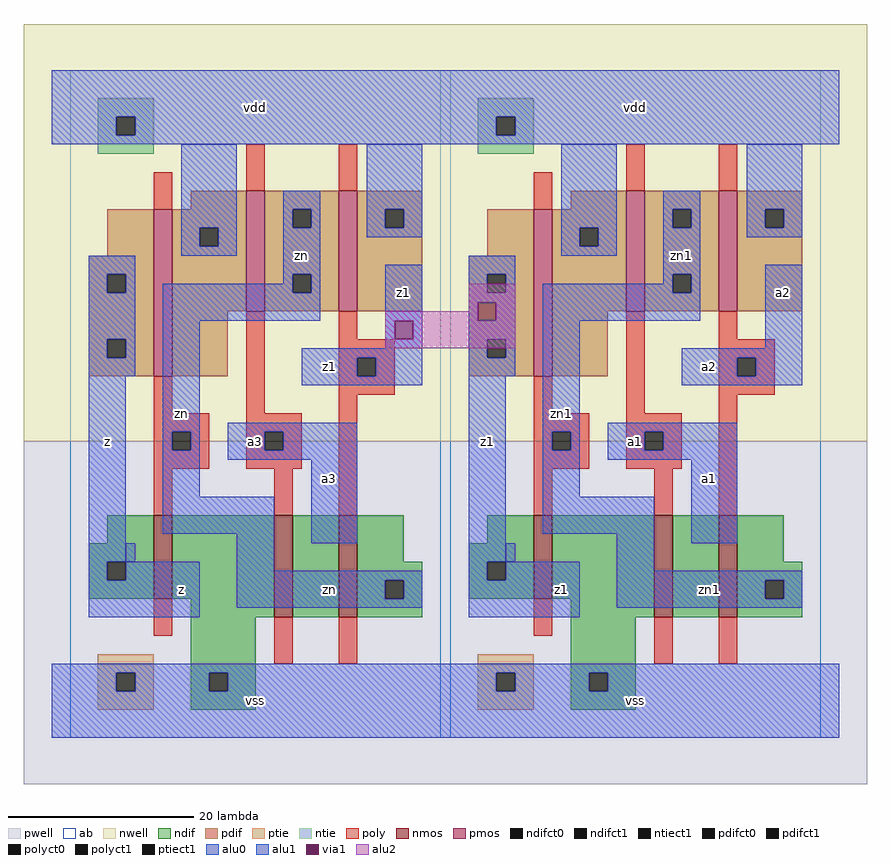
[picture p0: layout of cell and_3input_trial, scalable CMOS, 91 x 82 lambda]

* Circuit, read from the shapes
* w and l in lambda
.subckt and_3input_trial a1 a2 a3 vdd vss z z1 zn zn1
M1 vss zn z vss nfet w=9 l=2
M2 n1 a3 vss vss nfet w=11 l=2
M3 zn z1 n1 vss nfet w=11 l=2
M4 vss zn1 z1 vss nfet w=9 l=2
M5 n2 a1 vss vss nfet w=11 l=2
M6 zn1 a2 n2 vss nfet w=11 l=2
M7 vdd zn z vdd pfet w=18 l=2
M8 zn a3 vdd vdd pfet w=13 l=2
M9 vdd z1 zn vdd pfet w=13 l=2
M10 vdd zn1 z1 vdd pfet w=18 l=2
M11 zn1 a1 vdd vdd pfet w=13 l=2
M12 vdd a2 zn1 vdd pfet w=13 l=2
.ends

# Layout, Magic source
magic
tech scmos
<< ab >>
rect -40 5 0 77
rect 1 5 41 77
<< nwell >>
rect -45 37 46 82
<< pwell >>
rect -45 0 46 37
<< poly >>
rect -31 62 -29 66
rect -21 64 -19 69
rect -11 64 -9 69
rect 10 62 12 66
rect 20 64 22 69
rect 30 64 32 69
rect -31 40 -29 44
rect -21 40 -19 51
rect -11 48 -9 51
rect -11 46 -5 48
rect -11 44 -9 46
rect -7 44 -5 46
rect -11 42 -5 44
rect -31 38 -25 40
rect -31 36 -29 38
rect -27 36 -25 38
rect -31 34 -25 36
rect -21 38 -15 40
rect -21 36 -19 38
rect -17 36 -15 38
rect -21 34 -15 36
rect -31 29 -29 34
rect -18 29 -16 34
rect -11 29 -9 42
rect 10 40 12 44
rect 20 40 22 51
rect 30 48 32 51
rect 30 46 36 48
rect 30 44 32 46
rect 34 44 36 46
rect 30 42 36 44
rect 10 38 16 40
rect 10 36 12 38
rect 14 36 16 38
rect 10 34 16 36
rect 20 38 26 40
rect 20 36 22 38
rect 24 36 26 38
rect 20 34 26 36
rect 10 29 12 34
rect 23 29 25 34
rect 30 29 32 42
rect -31 16 -29 20
rect -18 13 -16 18
rect -11 13 -9 18
rect 10 16 12 20
rect 23 13 25 18
rect 30 13 32 18
<< ndif >>
rect -36 26 -31 29
rect -38 24 -31 26
rect -38 22 -36 24
rect -34 22 -31 24
rect -38 20 -31 22
rect -29 20 -18 29
rect -27 18 -18 20
rect -16 18 -11 29
rect -9 24 -4 29
rect 5 26 10 29
rect 3 24 10 26
rect -9 22 -2 24
rect -9 20 -6 22
rect -4 20 -2 22
rect 3 22 5 24
rect 7 22 10 24
rect 3 20 10 22
rect 12 20 23 29
rect -9 18 -2 20
rect -27 12 -20 18
rect 14 18 23 20
rect 25 18 30 29
rect 32 24 37 29
rect 32 22 39 24
rect 32 20 35 22
rect 37 20 39 22
rect 32 18 39 20
rect -27 10 -25 12
rect -23 10 -20 12
rect -27 8 -20 10
rect 14 12 21 18
rect 14 10 16 12
rect 18 10 21 12
rect 14 8 21 10
<< pdif >>
rect -27 62 -21 64
rect -36 57 -31 62
rect -38 55 -31 57
rect -38 53 -36 55
rect -34 53 -31 55
rect -38 48 -31 53
rect -38 46 -36 48
rect -34 46 -31 48
rect -38 44 -31 46
rect -29 60 -21 62
rect -29 58 -26 60
rect -24 58 -21 60
rect -29 51 -21 58
rect -19 62 -11 64
rect -19 60 -16 62
rect -14 60 -11 62
rect -19 55 -11 60
rect -19 53 -16 55
rect -14 53 -11 55
rect -19 51 -11 53
rect -9 62 -2 64
rect 14 62 20 64
rect -9 60 -6 62
rect -4 60 -2 62
rect -9 51 -2 60
rect 5 57 10 62
rect 3 55 10 57
rect 3 53 5 55
rect 7 53 10 55
rect -29 44 -23 51
rect 3 48 10 53
rect 3 46 5 48
rect 7 46 10 48
rect 3 44 10 46
rect 12 60 20 62
rect 12 58 15 60
rect 17 58 20 60
rect 12 51 20 58
rect 22 62 30 64
rect 22 60 25 62
rect 27 60 30 62
rect 22 55 30 60
rect 22 53 25 55
rect 27 53 30 55
rect 22 51 30 53
rect 32 62 39 64
rect 32 60 35 62
rect 37 60 39 62
rect 32 51 39 60
rect 12 44 18 51
<< alu1 >>
rect -42 72 43 77
rect -42 70 -35 72
rect -33 70 6 72
rect 8 70 43 72
rect -42 69 43 70
rect -38 55 -33 57
rect -38 53 -36 55
rect -34 53 -33 55
rect -38 48 -33 53
rect -38 46 -36 48
rect -34 46 -33 48
rect -38 44 -33 46
rect -6 50 -2 56
rect -38 24 -34 44
rect -6 48 -5 50
rect -3 48 -2 50
rect -6 47 -2 48
rect -15 46 -2 47
rect -15 44 -9 46
rect -7 44 -2 46
rect -15 43 -2 44
rect 3 55 8 57
rect 3 53 5 55
rect 7 53 8 55
rect 3 52 8 53
rect 3 50 4 52
rect 6 50 8 52
rect 3 48 8 50
rect 3 46 5 48
rect 7 46 8 48
rect 3 44 8 46
rect -23 38 -9 39
rect -23 36 -19 38
rect -17 36 -9 38
rect -23 35 -9 36
rect -38 22 -36 24
rect -34 22 -26 24
rect -38 18 -26 22
rect -14 26 -9 35
rect 3 24 7 44
rect 35 47 39 56
rect 26 46 39 47
rect 26 44 32 46
rect 34 44 39 46
rect 26 43 39 44
rect 18 38 32 39
rect 18 36 22 38
rect 24 36 32 38
rect 18 35 32 36
rect 3 22 5 24
rect 7 22 15 24
rect 3 18 15 22
rect 27 26 32 35
rect -42 12 43 13
rect -42 10 -35 12
rect -33 10 -25 12
rect -23 10 6 12
rect 8 10 16 12
rect 18 10 43 12
rect -42 5 43 10
<< alu2 >>
rect 3 52 8 54
rect 3 51 4 52
rect -6 50 4 51
rect 6 50 8 52
rect -6 48 -5 50
rect -3 48 8 50
rect -6 47 8 48
<< ptie >>
rect -37 12 -31 14
rect -37 10 -35 12
rect -33 10 -31 12
rect -37 8 -31 10
rect 4 12 10 14
rect 4 10 6 12
rect 8 10 10 12
rect 4 8 10 10
<< ntie >>
rect -37 72 -31 74
rect -37 70 -35 72
rect -33 70 -31 72
rect -37 68 -31 70
rect 4 72 10 74
rect 4 70 6 72
rect 8 70 10 72
rect 4 68 10 70
<< nmos >>
rect -31 20 -29 29
rect -18 18 -16 29
rect -11 18 -9 29
rect 10 20 12 29
rect 23 18 25 29
rect 30 18 32 29
<< pmos >>
rect -31 44 -29 62
rect -21 51 -19 64
rect -11 51 -9 64
rect 10 44 12 62
rect 20 51 22 64
rect 30 51 32 64
<< polyct0 >>
rect -29 36 -27 38
rect 12 36 14 38
<< polyct1 >>
rect -9 44 -7 46
rect -19 36 -17 38
rect 32 44 34 46
rect 22 36 24 38
<< ndifct0 >>
rect -6 20 -4 22
rect 35 20 37 22
<< ndifct1 >>
rect -36 22 -34 24
rect 5 22 7 24
rect -25 10 -23 12
rect 16 10 18 12
<< ntiect1 >>
rect -35 70 -33 72
rect 6 70 8 72
<< ptiect1 >>
rect -35 10 -33 12
rect 6 10 8 12
<< pdifct0 >>
rect -26 58 -24 60
rect -16 60 -14 62
rect -16 53 -14 55
rect -6 60 -4 62
rect 15 58 17 60
rect 25 60 27 62
rect 25 53 27 55
rect 35 60 37 62
<< pdifct1 >>
rect -36 53 -34 55
rect -36 46 -34 48
rect 5 53 7 55
rect 5 46 7 48
<< alu0 >>
rect -28 60 -22 69
rect -28 58 -26 60
rect -24 58 -22 60
rect -28 57 -22 58
rect -17 62 -13 64
rect -17 60 -16 62
rect -14 60 -13 62
rect -17 55 -13 60
rect -8 62 -2 69
rect -8 60 -6 62
rect -4 60 -2 62
rect -8 59 -2 60
rect 13 60 19 69
rect 13 58 15 60
rect 17 58 19 60
rect 13 57 19 58
rect 24 62 28 64
rect 24 60 25 62
rect 27 60 28 62
rect -17 54 -16 55
rect -30 53 -16 54
rect -14 53 -13 55
rect -30 50 -13 53
rect -30 38 -26 50
rect 24 55 28 60
rect 33 62 39 69
rect 33 60 35 62
rect 37 60 39 62
rect 33 59 39 60
rect 24 54 25 55
rect 11 53 25 54
rect 27 53 28 55
rect 11 50 28 53
rect -30 36 -29 38
rect -27 36 -26 38
rect -30 31 -26 36
rect -30 27 -18 31
rect -34 24 -33 26
rect -22 23 -18 27
rect 11 38 15 50
rect 11 36 12 38
rect 14 36 15 38
rect 11 31 15 36
rect 11 27 23 31
rect 7 24 8 26
rect -22 22 -2 23
rect -22 20 -6 22
rect -4 20 -2 22
rect -22 19 -2 20
rect 19 23 23 27
rect 19 22 39 23
rect 19 20 35 22
rect 37 20 39 22
rect 19 19 39 20
<< via1 >>
rect -5 48 -3 50
rect 4 50 6 52
<< labels >>
rlabel alu1 21 9 21 9 6 vss
rlabel alu1 21 73 21 73 6 vdd
rlabel alu1 21 37 21 37 1 a1
rlabel alu1 29 33 29 33 1 a1
rlabel alu1 29 45 29 45 1 a2
rlabel alu1 37 53 37 53 1 a2
rlabel alu0 13 40 13 40 1 zn1
rlabel alu0 26 57 26 57 1 zn1
rlabel alu0 29 21 29 21 1 zn1
rlabel alu1 13 21 13 21 1 z1
rlabel alu1 -20 73 -20 73 6 vdd
rlabel alu1 -20 9 -20 9 6 vss
rlabel alu1 -28 21 -28 21 6 z
rlabel alu1 -36 37 -36 37 6 z
rlabel alu0 -15 57 -15 57 6 zn
rlabel alu0 -12 21 -12 21 6 zn
rlabel alu0 -28 40 -28 40 6 zn
rlabel alu1 -20 37 -20 37 1 a3
rlabel alu1 -12 33 -12 33 1 a3
rlabel alu1 5 37 5 37 1 z1
rlabel alu1 -4 53 -4 53 1 z1
rlabel alu1 -12 45 -12 45 1 z1
<< end >>
